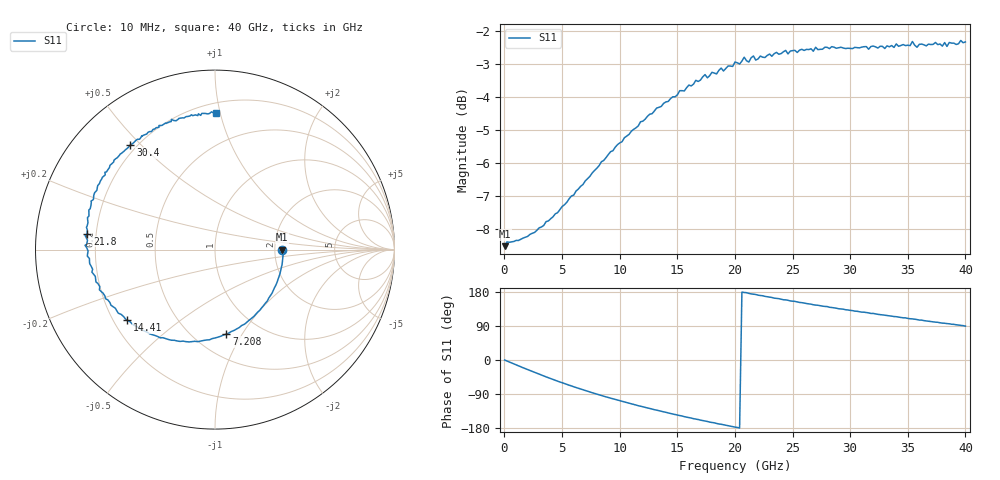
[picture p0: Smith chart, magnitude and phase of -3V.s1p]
!Agilent Technologies,N5227A,US51270434,A.10.00.00
!Agilent N5227A: A.10.00.00
!Date: Monday, January 26, 2026 17:26:03
!Correction: S11(Full 1 Port(1))
!S1P File: Measurement: S11:
# Hz S  dB  R 50
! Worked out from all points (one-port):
!   201 points, 10 MHz to 40 GHz, reference 50 ohm
!   lowest |S11| = -8.5 dB at 10 MHz (marker M1), VSWR 2.20, Z = 110 - j0.0806 ohm
!   |S11| at or under -10 dB: nowhere
!   S11 on the Smith chart (normalised r, x): 10 MHz: 2.20, -0.00; 7.208 GHz: 0.71, -0.86; 14.41 GHz: 0.26, -0.33; 21.8 GHz: 0.17, +0.06; 30.4 GHz: 0.17, +0.47; 40 GHz: 0.27, +0.97
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1e7  -8.51 -0.0
1.00975e9  -8.34 -12.9
2.4094e9  -8.12 -30.2
5.00875e9  -7.31 -59.9
7.2082e9  -6.47 -82.3
8.4079e9  -5.96 -93.4
1.00075e10  -5.39 -107.5
1.180705e10  -4.75 -121.8
1.32067e10  -4.34 -132.3
1.44064e10  -4.05 -141.1
1.500625e10  -3.94 -145.4
1.740565e10  -3.33 -160.8
2.0005e10  -2.95 -177.1
2.04049e10  -3.01 -179.3
2.08048e10  -2.80 178.1
2.180455e10  -2.89 172.9
2.300425e10  -2.71 165.9
2.500375e10  -2.60 155.1
2.700325e10  -2.50 144.9
2.8003e10  -2.50 141.0
2.900275e10  -2.52 135.1
3.00025e10  -2.54 131.0
3.04024e10  -2.50 129.0
3.180205e10  -2.48 122.8
3.2002e10  -2.46 122.9
3.500125e10  -2.44 109.7
3.740065e10  -2.36 99.9
4e10  -2.34 89.5
